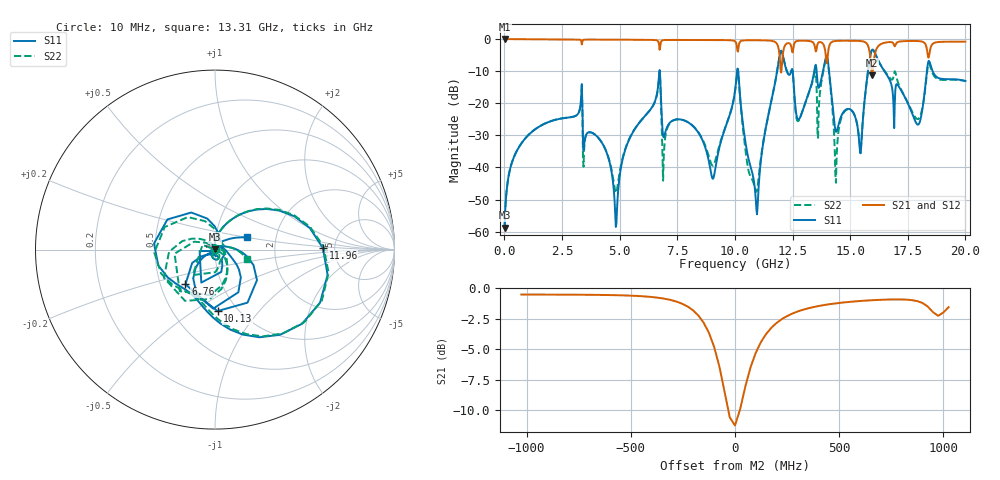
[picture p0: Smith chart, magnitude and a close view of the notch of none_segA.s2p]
! Stitch-density study - 40 x 12 mm symmetric stripline, cut at x=20 mm
! Case: none_segA
! Sweep: 10 MHz - 20 GHz, 25 MHz step, 4 cores
# GHz S MA R 50.000000
! Terminal data exported
! Port[1] = U1.PAD1.SIG
! Port[2] = U2.PAD1.SIG
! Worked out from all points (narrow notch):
!   801 points, 10 MHz to 20 GHz, reference 50 ohm
!   highest |S21| = -0.01 dB at 10 MHz (marker M1); lowest = -11.3 dB at 15.96 GHz (marker M2)
!   notch at M2: 10.9 dB deep, 173 MHz wide at half that depth
!   lowest |S11| = -58.8 dB at 10 MHz (marker M3), VSWR 1.00, Z = 50.1 + j0.0735 ohm
!   |S11| at or under -10 dB: start of sweep to 6.73 GHz; 6.739 GHz to 10.1 GHz (3.358 GHz wide, 39.9 % of centre); 16.49 GHz to 18.33 GHz (1.842 GHz wide, 10.6 % of centre)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
!   |S22| runs from -58.8 to -3.3 dB; largest |S21 - S12| = 0
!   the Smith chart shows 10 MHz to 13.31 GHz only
!   S11 on the Smith chart (normalised r, x): 10 MHz: 1.00, +0.00; 6.76 GHz: 0.67, -0.28; 10.13 GHz: 0.81, -0.63; 11.96 GHz: 4.01, +0.12; 13.31 GHz: 1.42, +0.20
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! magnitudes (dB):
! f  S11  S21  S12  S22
! 10 MHz  -58.8  0.0  0.0  -58.8
! 885 MHz  -31.1  -0.1  -0.1  -31.1
! 3.36 GHz  -14.0  -1.7  -1.7  -14.5
! 4.835 GHz  -58.5  -0.2  -0.2  -47.9
! 6.685 GHz  -13.5  -0.9  -0.9  -13.9
! 6.76 GHz  -11.9  -2.4  -2.4  -12.9
! 6.935 GHz  -30.2  -0.3  -0.3  -33.9
! 9.035 GHz  -43.5  -0.3  -0.3  -39.5
! 10.01 GHz  -16.0  -0.7  -0.7  -16.2
! 10.13 GHz  -9.3  -3.9  -3.9  -9.8
! 10.94 GHz  -53.1  -0.4  -0.4  -47.6
! 11.96 GHz  -4.4  -6.9  -6.9  -4.4
! 12.73 GHz  -25.0  -0.6  -0.6  -25.6
! 13.31 GHz  -14.4  -0.7  -0.7  -14.7
! 13.36 GHz  -13.0  -0.9  -0.9  -13.5
! 14.38 GHz  -28.9  -0.6  -0.6  -44.8
! 15.44 GHz  -35.6  -0.6  -0.6  -34.3
! 15.96 GHz  -3.3  -11.3  -11.3  -3.3
! 16.68 GHz  -12.3  -0.9  -0.9  -11.8
! 17.93 GHz  -26.7  -0.6  -0.6  -24.9
! 18.43 GHz  -6.9  -4.8  -4.8  -7.8
! 20 GHz  -13.1  -0.8  -0.8  -13.1
